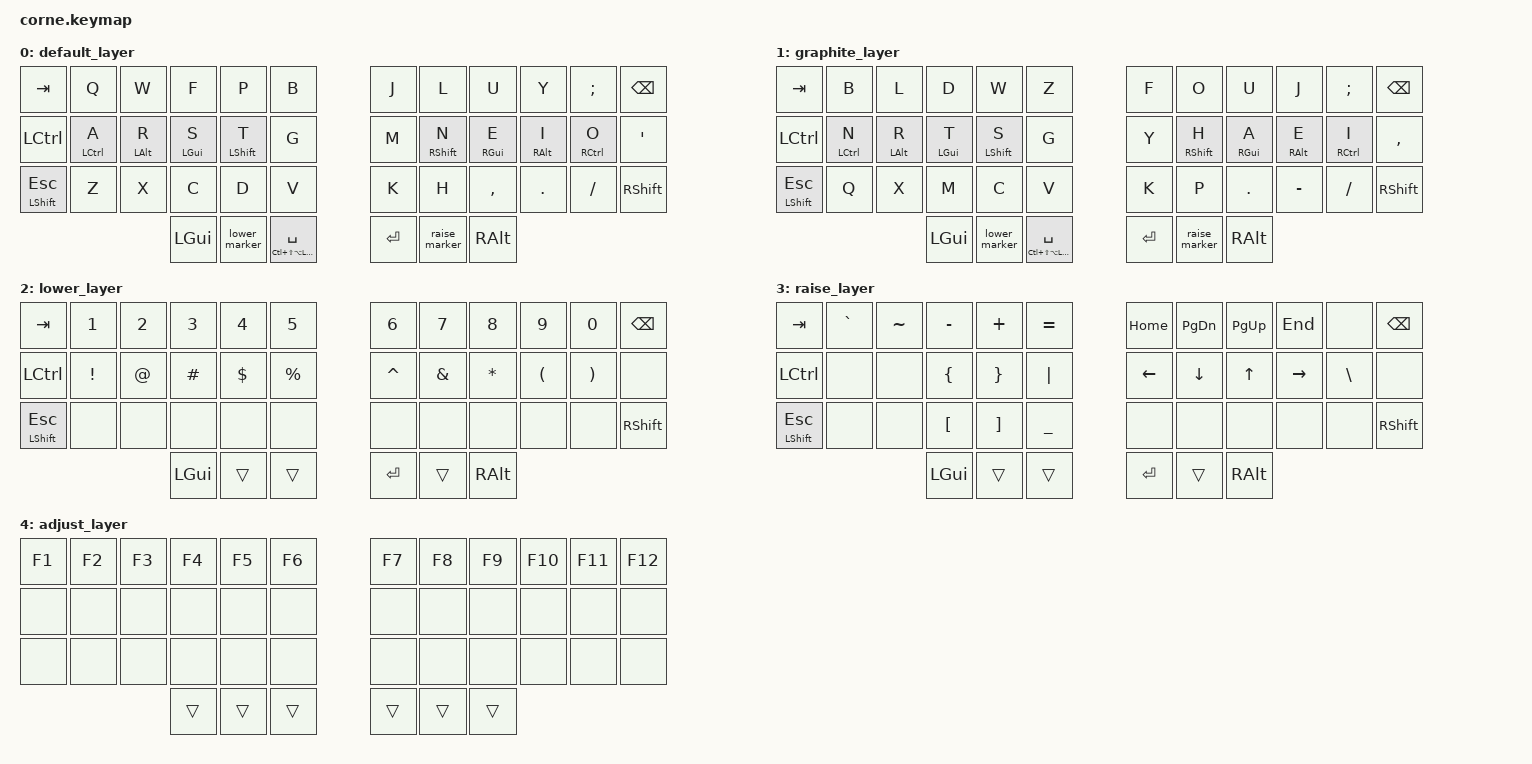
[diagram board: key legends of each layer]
/*
 * Copyright (c) 2020 The ZMK Contributors
 *
 * SPDX-License-Identifier: MIT
 */

#include <behaviors.dtsi>
#include <dt-bindings/zmk/keys.h>
#include <dt-bindings/zmk/bt.h>
#include <dt-bindings/zmk/outputs.h>

// Combo key positions (0-indexed per row)
// Row 1: TAB(0) Q(1) W(2) F(3) P(4) B(5) | J(6) L(7) U(8) Y(9) SEMI(10) BSPC(11)
#define K_TAB    0
#define K_Q      1
#define K_W      2
#define K_F      3
#define K_P      4
#define K_B      5
#define K_J      6
#define K_L      7
#define K_U      8
#define K_Y      9
#define K_SEMI   10
#define K_BSPC   11

// Row 2: LCTRL(12) A(13) R(14) S(15) T(16) G(17) | M(18) N(19) E(20) I(21) O(22) SQT(23)
#define K_A      13
#define K_R      14
#define K_S      15
#define K_T      16
#define K_G      17
#define K_M      18
#define K_N      19
#define K_E      20
#define K_I      21
#define K_O      22

// Row 3: LSHT+ESC(24) Z(25) X(26) C(27) D(28) V(29) | K(30) H(31) ,(32) .(33) /(34) RSHT(35)
#define K_LSHT_ESC 24
#define K_Z      25
#define K_X      26
#define K_C      27
#define K_D      28
#define K_V      29
#define K_K      30
#define K_H      31
#define K_COMMA  32
#define K_DOT    33
#define K_FSLH   34
#define K_RSHT   35

// Layer definitions
#define BASE 0
#define GRAPHITE 1
#define LOWER 2
#define RAISE 3
#define ADJUST 4

/ {
    behaviors {
        hm: homerow_mods {
            compatible = "zmk,behavior-hold-tap";
            label = "HOMEROW_MODS";
            #binding-cells = <2>;
            tapping-term-ms = <200>;
            quick-tap-ms = <0>;
            flavor = "tap-preferred";
            bindings = <&kp>, <&kp>;
        };

        hs: hyper_space {
            compatible = "zmk,behavior-hold-tap";
            label = "HYPER_SPACE";
            #binding-cells = <2>;
            tapping-term-ms = <2000>;
            quick-tap-ms = <200>;
            flavor = "tap-preferred";
            bindings = <&kp>, <&kp>;
        };
    };

    macros {
        lower_marker: lower_marker {
            compatible = "zmk,behavior-macro";
            wait-ms = <0>;
            tap-ms = <0>;
            #binding-cells = <0>;
            bindings
                = <&macro_press &mo LOWER &kp F18>
                , <&macro_pause_for_release>
                , <&macro_release &kp F18 &mo LOWER>
                ;
        };

        raise_marker: raise_marker {
            compatible = "zmk,behavior-macro";
            wait-ms = <0>;
            tap-ms = <0>;
            #binding-cells = <0>;
            bindings
                = <&macro_press &mo RAISE &kp F19>
                , <&macro_pause_for_release>
                , <&macro_release &kp F19 &mo RAISE>
                ;
        };
    };

    // Safety combos - require multiple keys pressed simultaneously
    // These combos work on ANY layer, making them impossible to accidentally trigger
    combos {
        compatible = "zmk,combos";

        // BT_CLR: Hold Q + W + F (left hand top row) simultaneously
        combo_bt_clear {
            timeout-ms = <100>;
            bindings = <&bt BT_CLR>;
            key-positions = <K_Q K_W K_F>;
        };

        // BT_CLR_ALL: Hold J + L + U (right hand top row) simultaneously
        combo_bt_clear_all {
            timeout-ms = <100>;
            bindings = <&bt BT_CLR_ALL>;
            key-positions = <K_J K_L K_U>;
        };

        // BT_SEL 0: Hold Z + X + C (left hand bottom row) simultaneously
        combo_bt_sel_0 {
            timeout-ms = <100>;
            bindings = <&bt BT_SEL 0>;
            key-positions = <K_Z K_X K_C>;
        };

        // BT_SEL 1: Hold K + H + COMMA (right hand bottom row) simultaneously
        combo_bt_sel_1 {
            timeout-ms = <100>;
            bindings = <&bt BT_SEL 1>;
            key-positions = <K_K K_H K_COMMA>;
        };

        // Bootloader: Hold Q + W + F + P (left hand top row) simultaneously.
        // 4-key combo because the left physical bootloader button is broken
        // and this is the only software path into DFU mode to reflash.
        combo_bootloader {
            timeout-ms = <100>;
            bindings = <&bootloader>;
            key-positions = <K_Q K_W K_F K_P>;
        };

        // Toggle Graphite with the four outer matrix keys: Tab, Backspace, and both Shifts.
        combo_graphite_toggle {
            timeout-ms = <100>;
            bindings = <&tog GRAPHITE>;
            key-positions = <K_TAB K_BSPC K_LSHT_ESC K_RSHT>;
        };
    };

    conditional_layers {
        compatible = "zmk,conditional-layers";
        adjust_layer {
            if-layers = <LOWER RAISE>;
            then-layer = <ADJUST>;
        };
    };

    keymap {
        compatible = "zmk,keymap";

        default_layer {
            bindings = <
                // ╭─────────────┬─────────────┬─────────────┬─────────────┬─────────────┬─────────────╮   ╭─────────────┬─────────────┬─────────────┬─────────────┬─────────────┬─────────────╮
                     &kp TAB      &kp Q         &kp W         &kp F         &kp P         &kp B             &kp J         &kp L         &kp U         &kp Y         &kp SEMI      &kp BSPC
                // ├─────────────┼─────────────┼─────────────┼─────────────┼─────────────┼─────────────┤   ├─────────────┼─────────────┼─────────────┼─────────────┼─────────────┼─────────────┤
                     &kp LCTRL    &hm LCTRL A   &hm LALT R    &hm LGUI S    &hm LSHFT T   &kp G             &kp M         &hm RSHFT N   &hm RGUI E    &hm RALT I    &hm RCTRL O   &kp SQT
                // ├─────────────┼─────────────┼─────────────┼─────────────┼─────────────┼─────────────┤   ├─────────────┼─────────────┼─────────────┼─────────────┼─────────────┼─────────────┤
                     &mt LSHFT ESC &kp Z         &kp X         &kp C         &kp D         &kp V             &kp K         &kp H         &kp COMMA     &kp DOT       &kp FSLH      &kp RSHFT
                // ╰─────────────┼─────────────┼─────────────┼─────────────┼─────────────┼─────────────┤   ├─────────────┼─────────────┼─────────────┼─────────────┼─────────────┼─────────────┤
                                                              &kp LGUI      &lower_marker &hs LC(LS(LA(LGUI))) SPACE  &kp RET       &raise_marker &kp RALT
                //                                           ╰─────────────┴─────────────┴─────────────╯   ╰─────────────┴─────────────┴─────────────╯
            >;
        };

        graphite_layer {
            bindings = <
                // ╭─────────────┬─────────────┬─────────────┬─────────────┬─────────────┬─────────────╮   ╭─────────────┬─────────────┬─────────────┬─────────────┬─────────────┬─────────────╮
                     &kp TAB      &kp B         &kp L         &kp D         &kp W         &kp Z             &kp F         &kp O         &kp U         &kp J         &kp SEMI      &kp BSPC
                // ├─────────────┼─────────────┼─────────────┼─────────────┼─────────────┼─────────────┤   ├─────────────┼─────────────┼─────────────┼─────────────┼─────────────┼─────────────┤
                     &kp LCTRL    &hm LCTRL N   &hm LALT R    &hm LGUI T    &hm LSHFT S   &kp G             &kp Y         &hm RSHFT H   &hm RGUI A    &hm RALT E    &hm RCTRL I   &kp COMMA
                // ├─────────────┼─────────────┼─────────────┼─────────────┼─────────────┼─────────────┤   ├─────────────┼─────────────┼─────────────┼─────────────┼─────────────┼─────────────┤
                     &mt LSHFT ESC &kp Q         &kp X         &kp M         &kp C         &kp V             &kp K         &kp P         &kp DOT       &kp MINUS     &kp FSLH      &kp RSHFT
                // ╰─────────────┼─────────────┼─────────────┼─────────────┼─────────────┼─────────────┤   ├─────────────┼─────────────┼─────────────┼─────────────┼─────────────┼─────────────┤
                                                              &kp LGUI      &lower_marker &hs LC(LS(LA(LGUI))) SPACE  &kp RET       &raise_marker &kp RALT
                //                                           ╰─────────────┴─────────────┴─────────────╯   ╰─────────────┴─────────────┴─────────────╯
            >;
        };

        lower_layer {
            bindings = <
                // ╭─────────────┬─────────────┬─────────────┬─────────────┬─────────────┬─────────────╮   ╭─────────────┬─────────────┬─────────────┬─────────────┬─────────────┬─────────────╮
                     &kp TAB      &kp N1        &kp N2        &kp N3        &kp N4        &kp N5            &kp N6        &kp N7        &kp N8        &kp N9        &kp N0        &kp BSPC
                // ├─────────────┼─────────────┼─────────────┼─────────────┼─────────────┼─────────────┤   ├─────────────┼─────────────┼─────────────┼─────────────┼─────────────┼─────────────┤
                     &kp LCTRL    &kp EXCL      &kp AT        &kp HASH      &kp DLLR      &kp PRCNT         &kp CARET     &kp AMPS      &kp STAR      &kp LPAR      &kp RPAR      &none
                // ├─────────────┼─────────────┼─────────────┼─────────────┼─────────────┼─────────────┤   ├─────────────┼─────────────┼─────────────┼─────────────┼─────────────┼─────────────┤
                     &mt LSHFT ESC &none         &none         &none         &none         &none             &none         &none         &none         &none         &none         &kp RSHFT
                // ╰─────────────┼─────────────┼─────────────┼─────────────┼─────────────┼─────────────┤   ├─────────────┼─────────────┼─────────────┼─────────────┼─────────────┼─────────────┤
                                                              &kp LGUI      &trans        &trans            &kp RET       &trans        &kp RALT
                //                                           ╰─────────────┴─────────────┴─────────────╯   ╰─────────────┴─────────────┴─────────────╯
            >;
        };

        raise_layer {
            bindings = <
                // ╭─────────────┬─────────────┬─────────────┬─────────────┬─────────────┬─────────────╮   ╭─────────────┬─────────────┬─────────────┬─────────────┬─────────────┬─────────────╮
                     &kp TAB      &kp GRAVE     &kp TILDE     &kp MINUS     &kp PLUS      &kp EQUAL          &kp HOME      &kp PG_DN     &kp PG_UP     &kp END       &none         &kp BSPC
                // ├─────────────┼─────────────┼─────────────┼─────────────┼─────────────┼─────────────┤   ├─────────────┼─────────────┼─────────────┼─────────────┼─────────────┼─────────────┤
                     &kp LCTRL    &none         &none         &kp LBRC      &kp RBRC      &kp PIPE          &kp LEFT      &kp DOWN      &kp UP        &kp RIGHT     &kp BSLH      &none
                // ├─────────────┼─────────────┼─────────────┼─────────────┼─────────────┼─────────────┤   ├─────────────┼─────────────┼─────────────┼─────────────┼─────────────┼─────────────┤
                     &mt LSHFT ESC &none         &none         &kp LBKT      &kp RBKT      &kp UNDER         &none         &none         &none         &none         &none         &kp RSHFT
                // ╰─────────────┼─────────────┼─────────────┼─────────────┼─────────────┼─────────────┤   ├─────────────┼─────────────┼─────────────┼─────────────┼─────────────┼─────────────┤
                                                              &kp LGUI      &trans        &trans            &kp RET       &trans        &kp RALT
                //                                           ╰─────────────┴─────────────┴─────────────╯   ╰─────────────┴─────────────┴─────────────╯
            >;
        };

        adjust_layer {
            bindings = <
                // ╭─────────────┬─────────────┬─────────────┬─────────────┬─────────────┬─────────────╮   ╭─────────────┬─────────────┬─────────────┬─────────────┬─────────────┬─────────────╮
                     &kp F1        &kp F2        &kp F3        &kp F4        &kp F5        &kp F6            &kp F7        &kp F8        &kp F9        &kp F10       &kp F11       &kp F12
                // ├─────────────┼─────────────┼─────────────┼─────────────┼─────────────┼─────────────┤   ├─────────────┼─────────────┼─────────────┼─────────────┼─────────────┼─────────────┤
                     &none         &none         &none         &none         &none         &none             &none         &none         &none         &none         &none         &none
                // ├─────────────┼─────────────┼─────────────┼─────────────┼─────────────┼─────────────┤   ├─────────────┼─────────────┼─────────────┼─────────────┼─────────────┼─────────────┤
                     &none         &none         &none         &none         &none         &none             &none         &none         &none         &none         &none         &none
                // ╰─────────────┼─────────────┼─────────────┼─────────────┼─────────────┼─────────────┤   ├─────────────┼─────────────┼─────────────┼─────────────┼─────────────┼─────────────┤
                                                              &trans        &trans        &trans            &trans        &trans        &trans
                //                                           ╰─────────────┴─────────────┴─────────────╯   ╰─────────────┴─────────────┴─────────────╯
                // NOTE: every destructive binding (BT_CLR, BT_CLR_ALL,
                //       BT_SEL 0-1, &bootloader) is now combo-only so it
                //       cannot fire from a single-thumb LOWER+RAISE slip
                //       during normal typing. BT_SEL 2-4 and &sys_reset
                //       were dropped entirely (only 2 paired devices used;
                //       sys_reset replaced by battery unplug / DFU reflash).
            >;
        };
    };
};
